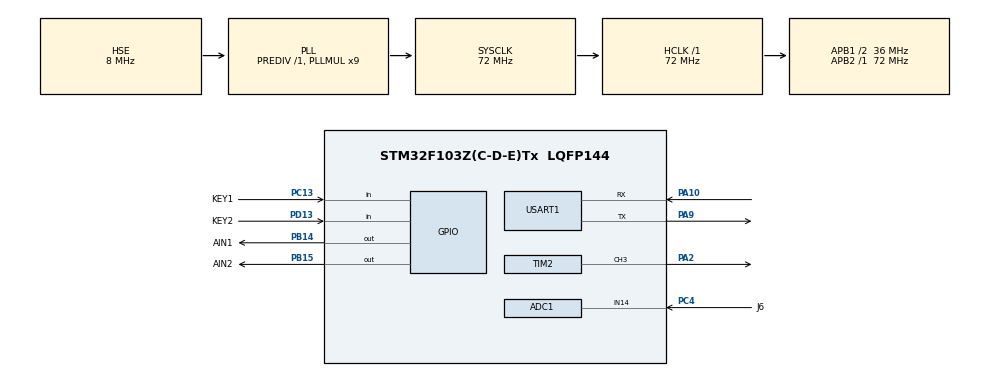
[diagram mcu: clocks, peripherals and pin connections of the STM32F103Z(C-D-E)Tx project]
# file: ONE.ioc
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ADC1.Channel-0\#ChannelRegularConversion=ADC_CHANNEL_14
ADC1.ContinuousConvMode=ENABLE
ADC1.NbrOfConversionFlag=1
ADC1.Rank-0\#ChannelRegularConversion=1
ADC1.SamplingTime-0\#ChannelRegularConversion=ADC_SAMPLETIME_55CYCLES_5
ADC1.master=1
Dma.ADC1.0.Direction=DMA_PERIPH_TO_MEMORY
Dma.ADC1.0.Instance=DMA1_Channel1
Dma.ADC1.0.MemDataAlignment=DMA_MDATAALIGN_HALFWORD
Dma.ADC1.0.MemInc=DMA_MINC_ENABLE
Dma.ADC1.0.Mode=DMA_CIRCULAR
Dma.ADC1.0.PeriphDataAlignment=DMA_PDATAALIGN_HALFWORD
Dma.ADC1.0.PeriphInc=DMA_PINC_DISABLE
Dma.ADC1.0.Priority=DMA_PRIORITY_HIGH
Dma.Request0=ADC1
Dma.Request1=USART1_TX
Dma.Request2=USART1_RX
Dma.USART1_RX.2.Direction=DMA_PERIPH_TO_MEMORY
Dma.USART1_RX.2.Instance=DMA1_Channel5
Dma.USART1_RX.2.MemDataAlignment=DMA_MDATAALIGN_BYTE
Dma.USART1_RX.2.MemInc=DMA_MINC_ENABLE
Dma.USART1_RX.2.Mode=DMA_CIRCULAR
Dma.USART1_RX.2.PeriphDataAlignment=DMA_PDATAALIGN_BYTE
Dma.USART1_RX.2.PeriphInc=DMA_PINC_DISABLE
Dma.USART1_RX.2.Priority=DMA_PRIORITY_LOW
Dma.USART1_TX.1.Direction=DMA_MEMORY_TO_PERIPH
Dma.USART1_TX.1.Instance=DMA1_Channel4
Dma.USART1_TX.1.MemDataAlignment=DMA_MDATAALIGN_BYTE
Dma.USART1_TX.1.MemInc=DMA_MINC_ENABLE
Dma.USART1_TX.1.Mode=DMA_CIRCULAR
Dma.USART1_TX.1.PeriphDataAlignment=DMA_PDATAALIGN_BYTE
Dma.USART1_TX.1.PeriphInc=DMA_PINC_DISABLE
Dma.USART1_TX.1.Priority=DMA_PRIORITY_LOW
Mcu.Family=STM32F1
Mcu.Name=STM32F103Z(C-D-E)Tx
Mcu.Package=LQFP144
NVIC.ADC1_2_IRQn=true\:0\:0\:false\:false\:true\:true\:true\:true
NVIC.DMA1_Channel1_IRQn=true\:0\:0\:false\:false\:true\:false\:true\:true
NVIC.DMA1_Channel4_IRQn=true\:0\:0\:false\:false\:true\:false\:true\:true
NVIC.DMA1_Channel5_IRQn=true\:0\:0\:false\:false\:true\:false\:true\:true
NVIC.PriorityGroup=NVIC_PRIORITYGROUP_4
NVIC.TIM2_IRQn=true\:0\:0\:false\:false\:true\:true\:true\:true
NVIC.USART1_IRQn=true\:0\:0\:false\:false\:true\:true\:true\:true
OSC_IN.Mode=HSE-External-Oscillator
OSC_IN.Signal=RCC_OSC_IN
OSC_OUT.Mode=HSE-External-Oscillator
OSC_OUT.Signal=RCC_OSC_OUT
PA10.Mode=Asynchronous
PA10.Signal=USART1_RX
PA2.Signal=S_TIM2_CH3
PA9.Mode=Asynchronous
PA9.Signal=USART1_TX
PB14.GPIO_Label=AIN1
PB14.GPIO_ModeDefaultOutputPP=GPIO_MODE_OUTPUT_OD
PB14.GPIO_PuPd=GPIO_NOPULL
PB14.Signal=GPIO_Output
PB15.GPIO_Label=AIN2
PB15.GPIO_ModeDefaultOutputPP=GPIO_MODE_OUTPUT_OD
PB15.GPIO_PuPd=GPIO_NOPULL
PB15.Signal=GPIO_Output
PC13-TAMPER-RTC.GPIO_Label=KEY1
PC13-TAMPER-RTC.GPIO_PuPd=GPIO_PULLUP
PC13-TAMPER-RTC.Signal=GPIO_Input
PC4.GPIO_Label=J6
PC4.Signal=ADCx_IN14
PD13.GPIO_Label=KEY2
PD13.GPIO_PuPd=GPIO_PULLUP
PD13.Signal=GPIO_Input
ProjectManager.HeapSize=0x200
ProjectManager.StackSize=0x400
ProjectManager.TargetToolchain=MDK-ARM V5.32
RCC.ADCPresc=RCC_ADCPCLK2_DIV8
RCC.AHBFreq_Value=72000000
RCC.APB1CLKDivider=RCC_HCLK_DIV2
RCC.APB1Freq_Value=36000000
RCC.APB1TimFreq_Value=72000000
RCC.APB2Freq_Value=72000000
RCC.APB2TimFreq_Value=72000000
RCC.HCLKFreq_Value=72000000
RCC.PLLMUL=RCC_PLL_MUL9
RCC.PLLSourceVirtual=RCC_PLLSOURCE_HSE
RCC.SYSCLKFreq_VALUE=72000000
RCC.SYSCLKSource=RCC_SYSCLKSOURCE_PLLCLK
RCC.USBFreq_Value=72000000
SH.ADCx_IN14.0=ADC1_IN14,IN14
SH.S_TIM2_CH3.0=TIM2_CH3,PWM Generation3 CH3
TIM2.AutoReloadPreload=TIM_AUTORELOAD_PRELOAD_DISABLE
TIM2.Channel-PWM\ Generation3\ CH3=TIM_CHANNEL_3
TIM2.OCPolarity_3=TIM_OCPOLARITY_LOW
TIM2.Period=500-1
TIM2.Prescaler=72-1
USART1.VirtualMode=VM_ASYNC
VP_SYS_VS_ND.Mode=No_Debug
VP_TIM2_VS_ClockSourceINT.Mode=Internal
board=custom

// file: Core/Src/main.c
/* USER CODE BEGIN Header */
/**
  ******************************************************************************
  * @file           : main.c
  * @brief          : Main program body
  ******************************************************************************
  * @attention
  *
  * Copyright (c) 2022 STMicroelectronics.
  * All rights reserved.
  *
  * This software is licensed under terms that can be found in the LICENSE file
  * in the root directory of this software component.
  * If no LICENSE file comes with this software, it is provided AS-IS.
  *
  ******************************************************************************
  */
/* USER CODE END Header */
#include "main.h"
#include "adc.h"
#include "dma.h"
#include "tim.h"
#include "usart.h"
#include "gpio.h"

/* USER CODE BEGIN Includes */
#include "stdio.h"
/* USER CODE END Includes */

/* USER CODE BEGIN PV */
#define Vref 3.3			//参考电压
#define Res 10000			//参考电阻
#define BaseDC 500		//占空比基准值
#define Factor 1			//占空比系数

uint16_t BaseNum=20;		//预设温度
uint16_t GetTemp;				//当前温度
uint16_t ADC_Value;			//存放A/D转换结果
uint16_t Vrt;						  //存放热敏电阻两端电压
uint16_t Rrt;						//存放热敏电阻阻值
uint32_t Receive_data;  //存放自定义预设温度

uint16_t DC;						//定义一个PWM占空比变量
/* USER CODE END PV */

void SystemClock_Config(void);

int main(void)
{
  /* USER CODE BEGIN 1 */
  HAL_Delay(200);           //上电延迟2秒
  /* USER CODE END 1 */

  /* MCU Configuration--------------------------------------------------------*/

  /* Reset of all peripherals, Initializes the Flash interface and the Systick. */
  HAL_Init();

  /* Configure the system clock */
  SystemClock_Config();

  /* Initialize all configured peripherals */
  MX_GPIO_Init();
  MX_DMA_Init();
  MX_ADC1_Init();
  MX_TIM2_Init();
  MX_USART1_UART_Init();
  /* USER CODE BEGIN 2 */
	//KEY初始化
	HAL_GPIO_WritePin(KEY1_GPIO_Port,KEY1_Pin,GPIO_PIN_SET);
	HAL_GPIO_WritePin(KEY2_GPIO_Port,KEY2_Pin,GPIO_PIN_SET);
	HAL_ADCEx_Calibration_Start(&hadc1);					//ADC1校准
	HAL_TIM_PWM_Start(&htim2,TIM_CHANNEL_3);			//开启定时器2通道3输出PWM波形
	//AIN1写入高电平，AIN2写入低电平，电机顺时针转动
	HAL_GPIO_WritePin(AIN1_GPIO_Port,AIN1_Pin,GPIO_PIN_SET) ;
  HAL_GPIO_WritePin(AIN2_GPIO_Port,AIN2_Pin,GPIO_PIN_RESET);
  printf("===The default temperature is %d degrees Celsius, enter a positive integer and press Enter to change===\n",BaseNum);
  /* USER CODE END 2 */

  /* Infinite loop */
  while (1)
  {

    /* USER CODE BEGIN 3 */
    //串口读取预设温度
    Receive_data=100;
		scanf("%d",&Receive_data);			//读取控制台输入数字
//    Receive_data=getint();     //读取控制台输入数字
    if(Receive_data!=100)
    {
      BaseNum=Receive_data;
      printf("The preset temperature has been set to %d degrees Celsius\n",BaseNum);
    }
		//按键控制预设温度
		if(HAL_GPIO_ReadPin(KEY1_GPIO_Port,KEY1_Pin)==GPIO_PIN_RESET)			//上拉输入按下为0（RESET）
		{
			HAL_Delay(10);			//10ms消抖
			if(HAL_GPIO_ReadPin(KEY1_GPIO_Port,KEY1_Pin)==GPIO_PIN_RESET)		//再次确定
			{
        BaseNum++;
        printf("The preset temperature has been set to %d degrees Celsius\n",BaseNum);
		  }
    }
		if(HAL_GPIO_ReadPin(KEY2_GPIO_Port,KEY2_Pin)==GPIO_PIN_RESET)
		{
			HAL_Delay(10);
			if(HAL_GPIO_ReadPin(KEY2_GPIO_Port,KEY2_Pin)==GPIO_PIN_RESET)
			{
        BaseNum--;
        printf("The preset temperature has been set to %d degrees Celsius\n",BaseNum);
		  }
    }
		HAL_Delay(200);
		HAL_ADC_Start_DMA(&hadc1,(uint32_t*)&ADC_Value,sizeof(&ADC_Value));			//启动ADC1的DMA转换
		HAL_ADC_PollForConversion(&hadc1,50);																		//等待转换结束，超时时间50s
		if(HAL_IS_BIT_SET(HAL_ADC_GetState(&hadc1),HAL_ADC_STATE_REG_EOC))			//判断是否设置转换完成标志位，HAL_ADC_STATE_REG_EOC为转换完成标志位
		{
			ADC_Value=HAL_ADC_GetState(&hadc1);	//读取A/D转换数据，数据为12位
			Vrt=(Vref/(4096-1))*ADC_Value;			//计算热敏电阻两端电压
			Rrt=Vrt/((Vref-Vrt)/Res);						//计算热敏电阻阻值
			GetTemp=0.05*Rrt;										//直接计算温度，不使用对照表
      //串口打印
      printf("The voltage across the thermistor is %d V",Vrt);
      printf("Thermistor resistance is %d ohms",Rrt);
      printf("Current ambient temperature %d degrees Celsius\n",GetTemp);
			DC=Factor*(GetTemp-BaseNum)+BaseDC;	//计算占空比
			if(GetTemp>BaseNum)
			{
				DC++;
        __HAL_TIM_SET_COMPARE(&htim2,TIM_CHANNEL_3,DC);											//启动风扇
				HAL_Delay(50);
			}
			else
			{
				//AIN1和AIN2都写入高电平，电机制动
				HAL_GPIO_WritePin(AIN1_GPIO_Port,AIN1_Pin,GPIO_PIN_SET);
				HAL_GPIO_WritePin(AIN2_GPIO_Port,AIN2_Pin,GPIO_PIN_SET);
			}
		}
  }
  /* USER CODE END 3 */
}

void SystemClock_Config(void)
{
  RCC_OscInitTypeDef RCC_OscInitStruct = {0};
  RCC_ClkInitTypeDef RCC_ClkInitStruct = {0};
  RCC_PeriphCLKInitTypeDef PeriphClkInit = {0};

  /** Initializes the RCC Oscillators according to the specified parameters
  * in the RCC_OscInitTypeDef structure.
  */
  RCC_OscInitStruct.OscillatorType = RCC_OSCILLATORTYPE_HSE;
  RCC_OscInitStruct.HSEState = RCC_HSE_ON;
  RCC_OscInitStruct.HSEPredivValue = RCC_HSE_PREDIV_DIV1;
  RCC_OscInitStruct.HSIState = RCC_HSI_ON;
  RCC_OscInitStruct.PLL.PLLState = RCC_PLL_ON;
  RCC_OscInitStruct.PLL.PLLSource = RCC_PLLSOURCE_HSE;
  RCC_OscInitStruct.PLL.PLLMUL = RCC_PLL_MUL9;
  if (HAL_RCC_OscConfig(&RCC_OscInitStruct) != HAL_OK)
  {
    Error_Handler();
  }

  /** Initializes the CPU, AHB and APB buses clocks
  */
  RCC_ClkInitStruct.ClockType = RCC_CLOCKTYPE_HCLK|RCC_CLOCKTYPE_SYSCLK
                              |RCC_CLOCKTYPE_PCLK1|RCC_CLOCKTYPE_PCLK2;
  RCC_ClkInitStruct.SYSCLKSource = RCC_SYSCLKSOURCE_PLLCLK;
  RCC_ClkInitStruct.AHBCLKDivider = RCC_SYSCLK_DIV1;
  RCC_ClkInitStruct.APB1CLKDivider = RCC_HCLK_DIV2;
  RCC_ClkInitStruct.APB2CLKDivider = RCC_HCLK_DIV1;

  if (HAL_RCC_ClockConfig(&RCC_ClkInitStruct, FLASH_LATENCY_2) != HAL_OK)
  {
    Error_Handler();
  }
  PeriphClkInit.PeriphClockSelection = RCC_PERIPHCLK_ADC;
  PeriphClkInit.AdcClockSelection = RCC_ADCPCLK2_DIV8;
  if (HAL_RCCEx_PeriphCLKConfig(&PeriphClkInit) != HAL_OK)
  {
    Error_Handler();
  }
}

void Error_Handler(void)
{
  __disable_irq();
  while (1)
  {
  }
}
